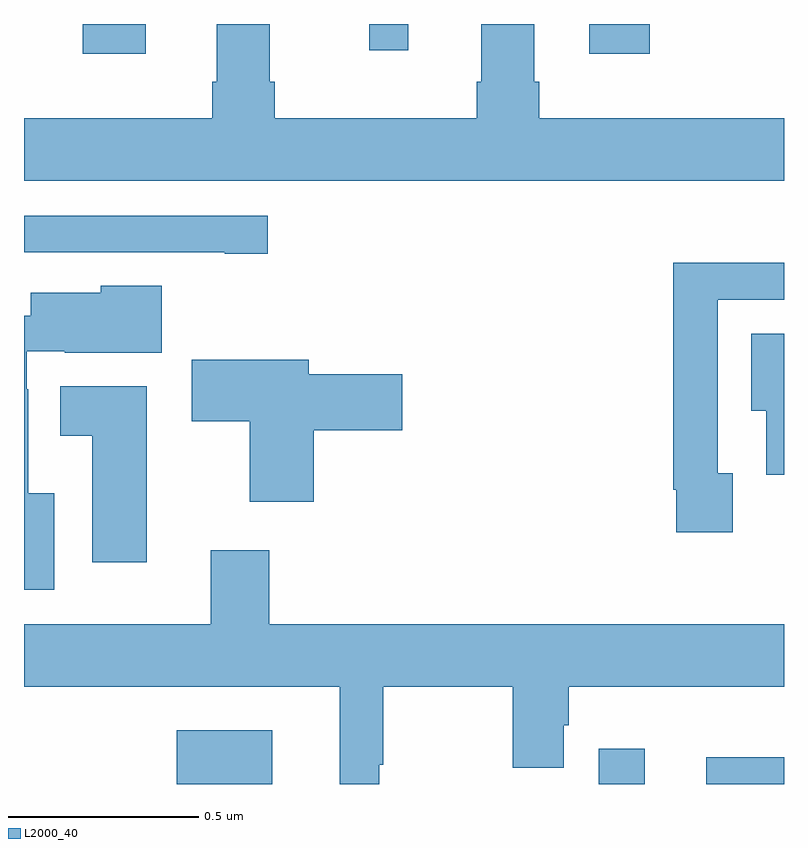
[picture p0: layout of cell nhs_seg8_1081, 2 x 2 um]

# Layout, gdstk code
import gdstk
lib = gdstk.Library(unit=1e-6, precision=1e-09)
def R(c, l, rs):  # rectangles x0, y0, x1, y1
    for r in rs: c.add(gdstk.rectangle(r[:2], r[2:], *l))
def P(c, l, *ps):  # polygons
    for p in ps: c.add(gdstk.Polygon(p, *l))
L2000_40 = (2000, 40)

nhs_seg8_1081 = lib.new_cell('nhs_seg8_1081')
R(nhs_seg8_1081, L2000_40, [(125.402,1126.9,125.653,1127.041), (126.512,1126.9,126.634,1126.993), (126.795,1126.9,127,1126.97), (125.155,1128.822,125.32,1128.9), (126.488,1128.822,126.647,1128.9), (125.908,1128.831,126.011,1128.9)])
P(nhs_seg8_1081, L2000_40, [(127,1128.652),(126.356,1128.652),(126.356,1128.748),(126.343,1128.748),(126.343,1128.9),(126.203,1128.9),(126.203,1128.748),(126.191,1128.748),(126.191,1128.652),(125.66,1128.652),(125.66,1128.748),(125.647,1128.748),(125.647,1128.9),(125.507,1128.9),(125.507,1128.748),(125.495,1128.748),(125.495,1128.652),(125,1128.652),(125,1128.488),(127,1128.488)],
  [(125.641,1128.396),(125,1128.396),(125,1128.3),(125.528,1128.3),(125.528,1128.295),(125.641,1128.295)],
  [(126.865,1127.718),(126.825,1127.718),(126.825,1128.174),(127,1128.174),(127,1128.272),(126.709,1128.272),(126.709,1127.674),(126.717,1127.674),(126.717,1127.562),(126.865,1127.562)],
  [(125.08,1127.665),(125.011,1127.665),(125.011,1127.939),(125.007,1127.939),(125.007,1128.039),(125.107,1128.039),(125.107,1128.035),(125.362,1128.035),(125.362,1128.211),(125.202,1128.211),(125.202,1128.193),(125.018,1128.193),(125.018,1128.132),(125,1128.132),(125,1127.411),(125.08,1127.411)],
  [(127,1128.085),(126.914,1128.085),(126.914,1127.882),(126.953,1127.882),(126.953,1127.714),(127,1127.714)],
  [(125.762,1127.831),(125.995,1127.831),(125.995,1127.978),(125.749,1127.978),(125.749,1128.016),(125.442,1128.016),(125.442,1127.854),(125.594,1127.854),(125.594,1127.643),(125.762,1127.643)],
  [(125.323,1127.947),(125.096,1127.947),(125.096,1127.816),(125.18,1127.816),(125.18,1127.484),(125.323,1127.484)],
  [(125.935,1126.951),(125.945,1126.951),(125.945,1127.156),(126.286,1127.156),(126.286,1126.943),(126.421,1126.943),(126.421,1127.055),(126.434,1127.055),(126.434,1127.156),(127,1127.156),(127,1127.32),(125.645,1127.32),(125.645,1127.515),(125.492,1127.515),(125.492,1127.32),(125,1127.32),(125,1127.156),(125.831,1127.156),(125.831,1126.9),(125.935,1126.9)])

lib.write_gds('nhs_seg8_1081.gds')
